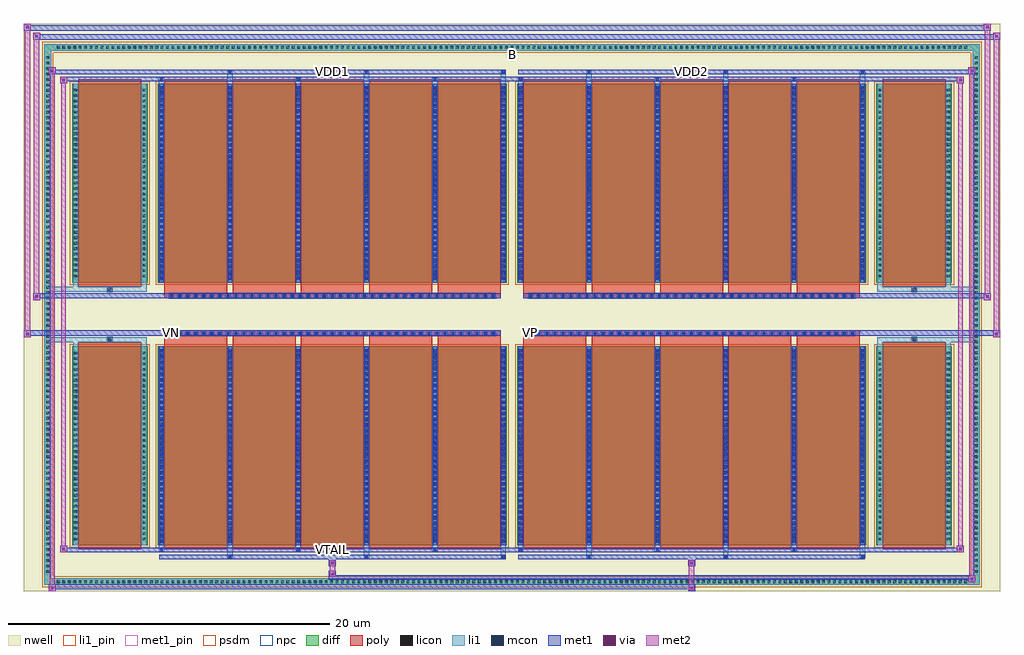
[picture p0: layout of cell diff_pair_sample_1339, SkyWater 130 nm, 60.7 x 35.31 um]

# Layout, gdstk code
import gdstk
lib = gdstk.Library(unit=1e-6, precision=5e-09)
def R(c, l, rs):  # rectangles x0, y0, x1, y1
    for r in rs: c.add(gdstk.rectangle(r[:2], r[2:], *l))
def A(c, l, x, y, w, h, nx, ny, dx, dy):  # array of equal rectangles
    R(c, l, [(x+i*dx, y+j*dy, x+i*dx+w, y+j*dy+h) for i in range(nx) for j in range(ny)])
def P(c, l, *ps):  # polygons
    for p in ps: c.add(gdstk.Polygon(p, *l))
nwell = (64, 20)
diff = (65, 20)
poly = (66, 20)
licon = (66, 44)
li1_pin = (67, 16)
li1 = (67, 20)
mcon = (67, 44)
met1_pin = (68, 16)
met1 = (68, 20)
via = (68, 44)
met2 = (69, 20)
psdm = (94, 20)
npc = (95, 20)

diff_pair_sample_1339 = lib.new_cell('diff_pair_sample_1339')
R(diff_pair_sample_1339, nwell, [(-30.35,-17.22,30.35,18.09), (-27.67,-15.41,-0.01,-0.795), (0.01,-15.41,27.67,-0.795), (-27.67,0.795,-0.01,15.41), (0.01,0.795,27.67,15.41)])
A(diff_pair_sample_1339, diff, -28.425, -16.82, 0.41, 0.41, 167, 2, 0.34, 33.23)
A(diff_pair_sample_1339, diff, -29.08, -16.185, 0.41, 0.41, 1, 95, 0, 0.34)
A(diff_pair_sample_1339, diff, 28.67, -16.185, 0.41, 0.41, 1, 95, 0, 0.34)
R(diff_pair_sample_1339, diff, [(-28.425,-16.82,28.425,-16.41), (-29.08,-16.185,-28.67,16.185), (28.67,-16.185,29.08,16.185), (-27.36,-14.365,-22.66,-1.985), (-22.02,-14.365,-0.32,-1.985), (0.32,-14.365,22.02,-1.985), (22.66,-14.365,27.36,-1.985), (-27.36,1.985,-22.66,14.365), (-22.02,1.985,-0.32,14.365), (0.32,1.985,22.02,14.365), (22.66,1.985,27.36,14.365), (-28.425,16.41,28.425,16.82)])
P(diff_pair_sample_1339, diff, [(29.08,16.82),(-29.08,16.82),(-29.08,-16.41),(-28.67,-16.41),(-28.67,16.41),(28.67,16.41),(28.67,-16.41),(-28.67,-16.41),(-29.08,-16.41),(-29.08,-16.82),(29.08,-16.82)])
A(diff_pair_sample_1339, poly, -21.63, -14.615, 3.92, 12.88, 5, 2, 4.25, 16.35)
A(diff_pair_sample_1339, poly, 0.71, -14.615, 3.92, 12.88, 5, 2, 4.25, 16.35)
A(diff_pair_sample_1339, poly, -21.63, -1.735, 3.92, 0.41, 5, 2, 4.25, 3.06)
A(diff_pair_sample_1339, poly, 0.71, -1.735, 3.92, 0.41, 5, 2, 4.25, 3.06)
A(diff_pair_sample_1339, poly, -21.335, -1.325, 0.33, 0.33, 41, 2, 0.5, 2.32)
A(diff_pair_sample_1339, poly, 1.005, -1.325, 0.33, 0.33, 41, 2, 0.5, 2.32)
R(diff_pair_sample_1339, poly, [(-26.97,-14.615,-23.05,-1.735), (23.05,-14.615,26.97,-1.735), (-25.175,-1.735,-24.845,-1.405), (-25.175,-1.735,-24.845,-1.405), (24.845,-1.735,25.175,-1.405), (24.845,-1.735,25.175,-1.405), (-21.63,-1.325,-0.71,-0.995), (0.71,-1.325,21.63,-0.995), (-21.63,0.995,-0.71,1.325), (0.71,0.995,21.63,1.325), (-25.175,1.405,-24.845,1.735), (-25.175,1.405,-24.845,1.735), (24.845,1.405,25.175,1.735), (24.845,1.405,25.175,1.735), (-26.97,1.735,-23.05,14.615), (23.05,1.735,26.97,14.615)])
A(diff_pair_sample_1339, licon, -28.305, -16.7, 0.17, 0.17, 167, 2, 0.34, 33.23)
A(diff_pair_sample_1339, licon, -28.96, -16.065, 0.17, 0.17, 1, 95, 0, 0.34)
A(diff_pair_sample_1339, licon, 28.79, -16.065, 0.17, 0.17, 1, 95, 0, 0.34)
A(diff_pair_sample_1339, licon, -27.22, -14.04, 0.17, 0.17, 1, 35, 0, 0.34)
A(diff_pair_sample_1339, licon, -22.97, -14.04, 0.17, 0.17, 1, 35, 0, 0.34)
A(diff_pair_sample_1339, licon, -21.88, -14.04, 0.17, 0.17, 6, 35, 4.25, 0.34)
A(diff_pair_sample_1339, licon, 0.46, -14.04, 0.17, 0.17, 6, 35, 4.25, 0.34)
A(diff_pair_sample_1339, licon, 22.8, -14.04, 0.17, 0.17, 1, 35, 0, 0.34)
A(diff_pair_sample_1339, licon, 27.05, -14.04, 0.17, 0.17, 1, 35, 0, 0.34)
A(diff_pair_sample_1339, licon, -21.255, -1.245, 0.17, 0.17, 41, 2, 0.5, 2.32)
A(diff_pair_sample_1339, licon, 1.085, -1.245, 0.17, 0.17, 41, 2, 0.5, 2.32)
A(diff_pair_sample_1339, licon, -27.22, 2.31, 0.17, 0.17, 1, 35, 0, 0.34)
A(diff_pair_sample_1339, licon, -22.97, 2.31, 0.17, 0.17, 1, 35, 0, 0.34)
A(diff_pair_sample_1339, licon, -21.88, 2.31, 0.17, 0.17, 6, 35, 4.25, 0.34)
A(diff_pair_sample_1339, licon, 0.46, 2.31, 0.17, 0.17, 6, 35, 4.25, 0.34)
A(diff_pair_sample_1339, licon, 22.8, 2.31, 0.17, 0.17, 1, 35, 0, 0.34)
A(diff_pair_sample_1339, licon, 27.05, 2.31, 0.17, 0.17, 1, 35, 0, 0.34)
R(diff_pair_sample_1339, licon, [(-25.095,-1.655,-24.925,-1.485), (24.925,-1.655,25.095,-1.485), (-25.095,1.485,-24.925,1.655), (24.925,1.485,25.095,1.655)])
R(diff_pair_sample_1339, li1_pin, [(-0.25,15.91,0.25,16.41)])
A(diff_pair_sample_1339, li1, -28.385, -16.78, 0.33, 0.33, 167, 2, 0.34, 33.23)
A(diff_pair_sample_1339, li1, -29.04, -16.145, 0.33, 0.33, 1, 95, 0, 0.34)
A(diff_pair_sample_1339, li1, 28.71, -16.145, 0.33, 0.33, 1, 95, 0, 0.34)
A(diff_pair_sample_1339, li1, -17.71, -15.17, 0.33, 0.805, 3, 2, 8.5, 29.535)
A(diff_pair_sample_1339, li1, -17.63, -15.17, 0.17, 0.17, 3, 2, 8.5, 30.17)
A(diff_pair_sample_1339, li1, 4.63, -15.17, 0.33, 0.805, 3, 2, 8.5, 29.535)
A(diff_pair_sample_1339, li1, 4.71, -15.17, 0.17, 0.17, 3, 2, 8.5, 30.17)
A(diff_pair_sample_1339, li1, -21.96, -14.74, 0.33, 0.375, 3, 2, 8.5, 29.105)
A(diff_pair_sample_1339, li1, -21.88, -14.74, 0.17, 0.17, 3, 2, 8.5, 29.31)
A(diff_pair_sample_1339, li1, 0.38, -14.74, 0.33, 0.375, 3, 2, 8.5, 29.105)
A(diff_pair_sample_1339, li1, 0.46, -14.74, 0.17, 0.17, 3, 2, 8.5, 29.31)
A(diff_pair_sample_1339, li1, -21.96, -14.365, 0.33, 12.38, 6, 2, 4.25, 16.35)
A(diff_pair_sample_1339, li1, 0.38, -14.365, 0.33, 12.38, 6, 2, 4.25, 16.35)
A(diff_pair_sample_1339, li1, -21.88, -14.2, 0.17, 0.17, 6, 34, 4.25, 0.36)
A(diff_pair_sample_1339, li1, -21.88, -14.2, 0.17, 12.05, 6, 2, 4.25, 16.35)
A(diff_pair_sample_1339, li1, 0.46, -14.2, 0.17, 0.17, 6, 34, 4.25, 0.36)
A(diff_pair_sample_1339, li1, 0.46, -14.2, 0.17, 12.05, 6, 2, 4.25, 16.35)
A(diff_pair_sample_1339, li1, -27.3, -14.12, 0.33, 0.33, 1, 35, 0, 0.34)
A(diff_pair_sample_1339, li1, -23.05, -14.12, 0.33, 0.33, 1, 35, 0, 0.34)
A(diff_pair_sample_1339, li1, -21.96, -14.12, 0.33, 0.33, 6, 35, 4.25, 0.34)
A(diff_pair_sample_1339, li1, 0.38, -14.12, 0.33, 0.33, 6, 35, 4.25, 0.34)
A(diff_pair_sample_1339, li1, 22.72, -14.12, 0.33, 0.33, 1, 35, 0, 0.34)
A(diff_pair_sample_1339, li1, 26.97, -14.12, 0.33, 0.33, 1, 35, 0, 0.34)
A(diff_pair_sample_1339, li1, -21.335, -1.325, 0.33, 0.33, 41, 2, 0.5, 2.32)
A(diff_pair_sample_1339, li1, 1.005, -1.325, 0.33, 0.33, 41, 2, 0.5, 2.32)
A(diff_pair_sample_1339, li1, -21.88, 2.15, 0.17, 0.17, 6, 34, 4.25, 0.36)
A(diff_pair_sample_1339, li1, 0.46, 2.15, 0.17, 0.17, 6, 34, 4.25, 0.36)
A(diff_pair_sample_1339, li1, -27.3, 2.23, 0.33, 0.33, 1, 35, 0, 0.34)
A(diff_pair_sample_1339, li1, -23.05, 2.23, 0.33, 0.33, 1, 35, 0, 0.34)
A(diff_pair_sample_1339, li1, -21.96, 2.23, 0.33, 0.33, 6, 35, 4.25, 0.34)
A(diff_pair_sample_1339, li1, 0.38, 2.23, 0.33, 0.33, 6, 35, 4.25, 0.34)
A(diff_pair_sample_1339, li1, 22.72, 2.23, 0.33, 0.33, 1, 35, 0, 0.34)
A(diff_pair_sample_1339, li1, 26.97, 2.23, 0.33, 0.33, 1, 35, 0, 0.34)
R(diff_pair_sample_1339, li1, [(-29.08,-16.82,-28.67,-16.41), (-29.08,-16.82,-28.67,-16.41), (-28.67,-16.82,28.67,-16.41), (28.67,-16.82,29.08,-16.41), (28.67,-16.82,29.08,-16.41), (-29.08,-16.41,-28.67,16.41), (28.67,-16.41,29.08,16.41), (-27.3,-14.365,-26.97,-1.985), (-23.05,-14.365,-22.72,-1.985), (22.72,-14.365,23.05,-1.985), (26.97,-14.365,27.3,-1.985), (-27.3,-1.985,-26.97,-1.405), (-23.05,-1.985,-22.72,-1.405), (22.72,-1.985,23.05,-1.405), (26.97,-1.985,27.3,-1.405), (-29.08,-1.735,-25.175,-1.405), (-27.3,-1.735,-25.175,-1.405), (-25.175,-1.735,-24.845,-1.405), (-24.845,-1.735,-22.72,-1.405), (22.72,-1.735,24.845,-1.405), (24.845,-1.735,25.175,-1.405), (24.845,-1.735,29.08,-1.405), (25.175,-1.735,27.3,-1.405), (-29.08,1.405,-25.175,1.735), (-27.3,1.405,-25.175,1.735), (-27.3,1.405,-26.97,1.985), (-25.175,1.405,-24.845,1.735), (-24.845,1.405,-22.72,1.735), (-23.05,1.405,-22.72,1.985), (22.72,1.405,24.845,1.735), (22.72,1.405,23.05,1.985), (24.845,1.405,25.175,1.735), (24.845,1.405,29.08,1.735), (25.175,1.405,27.3,1.735), (26.97,1.405,27.3,1.985), (-27.3,1.985,-26.97,14.365), (-23.05,1.985,-22.72,14.365), (22.72,1.985,23.05,14.365), (26.97,1.985,27.3,14.365), (-29.08,16.41,-28.67,16.82), (-29.08,16.41,-28.67,16.82), (-28.67,16.41,28.67,16.82), (28.67,16.41,29.08,16.82), (28.67,16.41,29.08,16.82)])
A(diff_pair_sample_1339, mcon, -17.63, -15.17, 0.17, 0.17, 3, 2, 8.5, 30.17)
A(diff_pair_sample_1339, mcon, 4.71, -15.17, 0.17, 0.17, 3, 2, 8.5, 30.17)
A(diff_pair_sample_1339, mcon, -21.88, -14.74, 0.17, 0.17, 3, 2, 8.5, 29.31)
A(diff_pair_sample_1339, mcon, 0.46, -14.74, 0.17, 0.17, 3, 2, 8.5, 29.31)
A(diff_pair_sample_1339, mcon, -21.88, -14.2, 0.17, 0.17, 6, 34, 4.25, 0.36)
A(diff_pair_sample_1339, mcon, 0.46, -14.2, 0.17, 0.17, 6, 34, 4.25, 0.36)
A(diff_pair_sample_1339, mcon, -21.255, -1.245, 0.17, 0.17, 41, 2, 0.5, 2.32)
A(diff_pair_sample_1339, mcon, 1.085, -1.245, 0.17, 0.17, 41, 2, 0.5, 2.32)
A(diff_pair_sample_1339, mcon, -21.88, 2.15, 0.17, 0.17, 6, 34, 4.25, 0.36)
A(diff_pair_sample_1339, mcon, 0.46, 2.15, 0.17, 0.17, 6, 34, 4.25, 0.36)
R(diff_pair_sample_1339, met1_pin, [(-11.305,-14.78,-11.035,-14.51), (-21.305,-1.285,-21.035,-1.015), (1.035,-1.285,1.305,-1.015), (-11.305,14.96,-11.035,15.23), (11.035,14.96,11.305,15.23)])
A(diff_pair_sample_1339, met1, -17.69, -15.23, 0.29, 0.29, 3, 2, 8.5, 30.17)
A(diff_pair_sample_1339, met1, 4.65, -15.23, 0.29, 0.29, 3, 2, 8.5, 30.17)
A(diff_pair_sample_1339, met1, -21.94, -14.8, 0.29, 0.29, 3, 2, 8.5, 29.31)
A(diff_pair_sample_1339, met1, 0.4, -14.8, 0.29, 0.29, 3, 2, 8.5, 29.31)
A(diff_pair_sample_1339, met1, -21.94, -14.365, 0.29, 12.38, 6, 2, 4.25, 16.35)
A(diff_pair_sample_1339, met1, 0.4, -14.365, 0.29, 12.38, 6, 2, 4.25, 16.35)
A(diff_pair_sample_1339, met1, -21.94, -14.26, 0.29, 0.29, 6, 34, 4.25, 0.36)
A(diff_pair_sample_1339, met1, 0.4, -14.26, 0.29, 0.29, 6, 34, 4.25, 0.36)
A(diff_pair_sample_1339, met1, -21.315, -1.305, 0.29, 0.29, 41, 2, 0.5, 2.32)
A(diff_pair_sample_1339, met1, 1.025, -1.305, 0.29, 0.29, 41, 2, 0.5, 2.32)
A(diff_pair_sample_1339, met1, -21.94, 2.09, 0.29, 0.29, 6, 34, 4.25, 0.36)
A(diff_pair_sample_1339, met1, 0.4, 2.09, 0.29, 0.29, 6, 34, 4.25, 0.36)
R(diff_pair_sample_1339, met1, [(-28.81,-17.22,-28.38,-16.79), (10.955,-17.22,11.385,-16.79), (-28.81,-17.08,11.385,-16.79), (28.38,-16.65,28.81,-16.22), (-11.385,-16.51,28.81,-16.22), (-11.385,-16.37,-10.955,-15.94), (-11.385,-15.66,-10.955,-15.23), (10.955,-15.66,11.385,-15.23), (-21.94,-15.23,-0.4,-14.94), (0.4,-15.23,21.94,-14.94), (-28.1,-14.8,-27.67,-14.37), (-28.1,-14.8,-21.94,-14.51), (-21.94,-14.8,-0.4,-14.51), (-0.4,-14.8,0.4,-14.51), (0.4,-14.8,21.94,-14.51), (21.94,-14.8,28.1,-14.51), (27.67,-14.8,28.1,-14.37), (-30.35,-1.425,-29.92,-0.995), (29.92,-1.425,30.35,-0.995), (-30.35,-1.325,-0.71,-0.995), (-21.63,-1.325,-0.71,-0.995), (0.71,-1.325,21.63,-0.995), (0.71,-1.325,30.35,-0.995), (-29.78,0.895,-29.35,1.325), (29.35,0.895,29.78,1.325), (-29.78,0.995,-21.63,1.325), (-21.63,0.995,-0.71,1.325), (0.71,0.995,21.63,1.325), (21.63,0.995,29.78,1.325), (-28.1,14.37,-27.67,14.8), (27.67,14.37,28.1,14.8), (-28.1,14.51,-21.94,14.8), (-21.94,14.51,-0.4,14.8), (-0.4,14.51,0.4,14.8), (0.4,14.51,21.94,14.8), (21.94,14.51,28.1,14.8), (-28.81,14.94,-28.38,15.37), (-28.81,14.94,-21.94,15.23), (-21.94,14.94,-0.4,15.23), (0.4,14.94,21.94,15.23), (21.94,14.94,28.81,15.23), (28.38,14.94,28.81,15.37), (-29.78,17.09,-29.35,17.52), (-29.78,17.09,-27.67,17.42), (-27.67,17.09,27.67,17.42), (27.67,17.09,30.35,17.42), (29.92,17.09,30.35,17.52), (-30.35,17.66,-29.92,18.09), (-30.35,17.66,-27.67,17.99), (-27.67,17.66,27.67,17.99), (27.67,17.66,29.78,17.99), (29.35,17.66,29.78,18.09)])
R(diff_pair_sample_1339, via, [(-28.67,-17.08,-28.52,-16.93), (11.095,-17.08,11.245,-16.93), (28.52,-16.51,28.67,-16.36), (-11.245,-16.23,-11.095,-16.08), (-11.245,-15.52,-11.095,-15.37), (11.095,-15.52,11.245,-15.37), (-27.96,-14.66,-27.81,-14.51), (27.81,-14.66,27.96,-14.51), (-30.21,-1.285,-30.06,-1.135), (30.06,-1.285,30.21,-1.135), (-29.64,1.035,-29.49,1.185), (29.49,1.035,29.64,1.185), (-27.96,14.51,-27.81,14.66), (27.81,14.51,27.96,14.66), (-28.67,15.08,-28.52,15.23), (28.52,15.08,28.67,15.23), (-29.64,17.23,-29.49,17.38), (30.06,17.23,30.21,17.38), (-30.21,17.8,-30.06,17.95), (29.49,17.8,29.64,17.95)])
R(diff_pair_sample_1339, met2, [(-28.81,-17.22,-28.38,-16.79), (-28.74,-17.22,-28.45,15.37), (-28.45,-17.22,-28.38,-16.79), (-28.76,-17.17,-28.43,-16.84), (11.005,-17.17,11.335,-16.84), (11.005,-16.84,11.335,-15.61), (28.38,-16.65,28.81,-16.22), (28.45,-16.65,28.74,15.37), (28.74,-16.65,28.81,-16.22), (28.43,-16.6,28.76,-16.27), (-11.335,-16.32,-11.005,-15.99), (-11.335,-15.99,-11.005,-15.61), (-11.335,-15.61,-11.005,-15.28), (11.005,-15.61,11.335,-15.28), (-28.1,-14.8,-27.67,-14.37), (-28.03,-14.8,-27.74,14.8), (-27.74,-14.8,-27.67,-14.37), (27.67,-14.8,28.1,-14.37), (27.74,-14.8,28.03,14.8), (28.03,-14.8,28.1,-14.37), (-28.05,-14.75,-27.72,-14.42), (27.72,-14.75,28.05,-14.42), (-30.35,-1.425,-29.92,-0.995), (-30.3,-1.425,-29.97,18.09), (-29.97,-1.425,-29.92,-0.995), (29.92,-1.425,30.35,-0.995), (29.97,-1.425,30.3,17.52), (30.3,-1.425,30.35,-0.995), (-30.3,-1.375,-29.97,-1.045), (29.97,-1.375,30.3,-1.045), (-29.78,0.895,-29.35,1.325), (-29.73,0.895,-29.4,17.52), (-29.4,0.895,-29.35,1.325), (29.35,0.895,29.78,1.325), (29.4,0.895,29.73,18.09), (29.73,0.895,29.78,1.325), (-29.73,0.945,-29.4,1.275), (29.4,0.945,29.73,1.275), (-28.1,14.37,-27.67,14.8), (-27.74,14.37,-27.67,14.8), (27.67,14.37,28.1,14.8), (28.03,14.37,28.1,14.8), (-28.05,14.42,-27.72,14.75), (27.72,14.42,28.05,14.75), (-28.81,14.94,-28.38,15.37), (-28.45,14.94,-28.38,15.37), (28.38,14.94,28.81,15.37), (28.74,14.94,28.81,15.37), (-28.76,14.99,-28.43,15.32), (28.43,14.99,28.76,15.32), (-29.78,17.09,-29.35,17.52), (-29.4,17.09,-29.35,17.52), (29.92,17.09,30.35,17.52), (30.3,17.09,30.35,17.52), (-29.73,17.14,-29.4,17.47), (29.97,17.14,30.3,17.47), (-30.35,17.66,-29.92,18.09), (-29.97,17.66,-29.92,18.09), (29.35,17.66,29.78,18.09), (29.73,17.66,29.78,18.09), (-30.3,17.71,-29.97,18.04), (29.4,17.71,29.73,18.04)])
R(diff_pair_sample_1339, psdm, [(-27.49,-14.495,-22.53,-1.855), (-22.15,-14.495,-0.19,-1.855), (0.19,-14.495,22.15,-1.855), (22.53,-14.495,27.49,-1.855), (-27.49,1.855,-22.53,14.495), (-22.15,1.855,-0.19,14.495), (0.19,1.855,22.15,14.495), (22.53,1.855,27.49,14.495)])
P(diff_pair_sample_1339, psdm, [(29.21,16.95),(-29.21,16.95),(-29.21,-16.28),(-28.54,-16.28),(-28.54,16.28),(28.54,16.28),(28.54,-16.28),(-28.54,-16.28),(-29.21,-16.28),(-29.21,-16.95),(29.21,-16.95)])
A(diff_pair_sample_1339, npc, -21.355, -1.345, 0.37, 0.37, 41, 2, 0.5, 2.32)
A(diff_pair_sample_1339, npc, 0.985, -1.345, 0.37, 0.37, 41, 2, 0.5, 2.32)
R(diff_pair_sample_1339, npc, [(-25.195,-1.755,-24.825,-1.385), (24.825,-1.755,25.195,-1.385), (-21.355,-1.345,-20.485,-0.975), (-21.355,-1.345,-20.485,-0.975), (-20.855,-1.345,-19.985,-0.975), (-20.855,-1.345,-19.985,-0.975), (-20.355,-1.345,-19.485,-0.975), (-20.355,-1.345,-19.485,-0.975), (-19.855,-1.345,-18.985,-0.975), (-19.855,-1.345,-18.985,-0.975), (-19.355,-1.345,-18.485,-0.975), (-19.355,-1.345,-18.485,-0.975), (-18.855,-1.345,-17.985,-0.975), (-18.855,-1.345,-17.985,-0.975), (-18.355,-1.345,-17.485,-0.975), (-18.355,-1.345,-17.485,-0.975), (-17.855,-1.345,-16.985,-0.975), (-17.855,-1.345,-16.985,-0.975), (-17.355,-1.345,-16.485,-0.975), (-17.355,-1.345,-16.485,-0.975), (-16.855,-1.345,-15.985,-0.975), (-16.855,-1.345,-15.985,-0.975), (-16.355,-1.345,-15.485,-0.975), (-16.355,-1.345,-15.485,-0.975), (-15.855,-1.345,-14.985,-0.975), (-15.855,-1.345,-14.985,-0.975), (-15.355,-1.345,-14.485,-0.975), (-15.355,-1.345,-14.485,-0.975), (-14.855,-1.345,-13.985,-0.975), (-14.855,-1.345,-13.985,-0.975), (-14.355,-1.345,-13.485,-0.975), (-14.355,-1.345,-13.485,-0.975), (-13.855,-1.345,-12.985,-0.975), (-13.855,-1.345,-12.985,-0.975), (-13.355,-1.345,-12.485,-0.975), (-13.355,-1.345,-12.485,-0.975), (-12.855,-1.345,-11.985,-0.975), (-12.855,-1.345,-11.985,-0.975), (-12.355,-1.345,-11.485,-0.975), (-12.355,-1.345,-11.485,-0.975), (-11.855,-1.345,-10.985,-0.975), (-11.855,-1.345,-10.985,-0.975), (-11.355,-1.345,-10.485,-0.975), (-11.355,-1.345,-10.485,-0.975), (-10.855,-1.345,-9.985,-0.975), (-10.855,-1.345,-9.985,-0.975), (-10.355,-1.345,-9.485,-0.975), (-10.355,-1.345,-9.485,-0.975), (-9.855,-1.345,-8.985,-0.975), (-9.855,-1.345,-8.985,-0.975), (-9.355,-1.345,-8.485,-0.975), (-9.355,-1.345,-8.485,-0.975), (-8.855,-1.345,-7.985,-0.975), (-8.855,-1.345,-7.985,-0.975), (-8.355,-1.345,-7.485,-0.975), (-8.355,-1.345,-7.485,-0.975), (-7.855,-1.345,-6.985,-0.975), (-7.855,-1.345,-6.985,-0.975), (-7.355,-1.345,-6.485,-0.975), (-7.355,-1.345,-6.485,-0.975), (-6.855,-1.345,-5.985,-0.975), (-6.855,-1.345,-5.985,-0.975), (-6.355,-1.345,-5.485,-0.975), (-6.355,-1.345,-5.485,-0.975), (-5.855,-1.345,-4.985,-0.975), (-5.855,-1.345,-4.985,-0.975), (-5.355,-1.345,-4.485,-0.975), (-5.355,-1.345,-4.485,-0.975), (-4.855,-1.345,-3.985,-0.975), (-4.855,-1.345,-3.985,-0.975), (-4.355,-1.345,-3.485,-0.975), (-4.355,-1.345,-3.485,-0.975), (-3.855,-1.345,-2.985,-0.975), (-3.855,-1.345,-2.985,-0.975), (-3.355,-1.345,-2.485,-0.975), (-3.355,-1.345,-2.485,-0.975), (-2.855,-1.345,-1.985,-0.975), (-2.855,-1.345,-1.985,-0.975), (-2.355,-1.345,-1.485,-0.975), (-2.355,-1.345,-1.485,-0.975), (-1.855,-1.345,-0.985,-0.975), (-1.855,-1.345,-0.985,-0.975), (0.985,-1.345,1.855,-0.975), (0.985,-1.345,1.855,-0.975), (1.485,-1.345,2.355,-0.975), (1.485,-1.345,2.355,-0.975), (1.985,-1.345,2.855,-0.975), (1.985,-1.345,2.855,-0.975), (2.485,-1.345,3.355,-0.975), (2.485,-1.345,3.355,-0.975), (2.985,-1.345,3.855,-0.975), (2.985,-1.345,3.855,-0.975), (3.485,-1.345,4.355,-0.975), (3.485,-1.345,4.355,-0.975), (3.985,-1.345,4.855,-0.975), (3.985,-1.345,4.855,-0.975), (4.485,-1.345,5.355,-0.975), (4.485,-1.345,5.355,-0.975), (4.985,-1.345,5.855,-0.975), (4.985,-1.345,5.855,-0.975), (5.485,-1.345,6.355,-0.975), (5.485,-1.345,6.355,-0.975), (5.985,-1.345,6.855,-0.975), (5.985,-1.345,6.855,-0.975), (6.485,-1.345,7.355,-0.975), (6.485,-1.345,7.355,-0.975), (6.985,-1.345,7.855,-0.975), (6.985,-1.345,7.855,-0.975), (7.485,-1.345,8.355,-0.975), (7.485,-1.345,8.355,-0.975), (7.985,-1.345,8.855,-0.975), (7.985,-1.345,8.855,-0.975), (8.485,-1.345,9.355,-0.975), (8.485,-1.345,9.355,-0.975), (8.985,-1.345,9.855,-0.975), (8.985,-1.345,9.855,-0.975), (9.485,-1.345,10.355,-0.975), (9.485,-1.345,10.355,-0.975), (9.985,-1.345,10.855,-0.975), (9.985,-1.345,10.855,-0.975), (10.485,-1.345,11.355,-0.975), (10.485,-1.345,11.355,-0.975), (10.985,-1.345,11.855,-0.975), (10.985,-1.345,11.855,-0.975), (11.485,-1.345,12.355,-0.975), (11.485,-1.345,12.355,-0.975), (11.985,-1.345,12.855,-0.975), (11.985,-1.345,12.855,-0.975), (12.485,-1.345,13.355,-0.975), (12.485,-1.345,13.355,-0.975), (12.985,-1.345,13.855,-0.975), (12.985,-1.345,13.855,-0.975), (13.485,-1.345,14.355,-0.975), (13.485,-1.345,14.355,-0.975), (13.985,-1.345,14.855,-0.975), (13.985,-1.345,14.855,-0.975), (14.485,-1.345,15.355,-0.975), (14.485,-1.345,15.355,-0.975), (14.985,-1.345,15.855,-0.975), (14.985,-1.345,15.855,-0.975), (15.485,-1.345,16.355,-0.975), (15.485,-1.345,16.355,-0.975), (15.985,-1.345,16.855,-0.975), (15.985,-1.345,16.855,-0.975), (16.485,-1.345,17.355,-0.975), (16.485,-1.345,17.355,-0.975), (16.985,-1.345,17.855,-0.975), (16.985,-1.345,17.855,-0.975), (17.485,-1.345,18.355,-0.975), (17.485,-1.345,18.355,-0.975), (17.985,-1.345,18.855,-0.975), (17.985,-1.345,18.855,-0.975), (18.485,-1.345,19.355,-0.975), (18.485,-1.345,19.355,-0.975), (18.985,-1.345,19.855,-0.975), (18.985,-1.345,19.855,-0.975), (19.485,-1.345,20.355,-0.975), (19.485,-1.345,20.355,-0.975), (19.985,-1.345,20.855,-0.975), (19.985,-1.345,20.855,-0.975), (20.485,-1.345,21.355,-0.975), (20.485,-1.345,21.355,-0.975), (-21.355,0.975,-20.485,1.345), (-21.355,0.975,-20.485,1.345), (-20.855,0.975,-19.985,1.345), (-20.855,0.975,-19.985,1.345), (-20.355,0.975,-19.485,1.345), (-20.355,0.975,-19.485,1.345), (-19.855,0.975,-18.985,1.345), (-19.855,0.975,-18.985,1.345), (-19.355,0.975,-18.485,1.345), (-19.355,0.975,-18.485,1.345), (-18.855,0.975,-17.985,1.345), (-18.855,0.975,-17.985,1.345), (-18.355,0.975,-17.485,1.345), (-18.355,0.975,-17.485,1.345), (-17.855,0.975,-16.985,1.345), (-17.855,0.975,-16.985,1.345), (-17.355,0.975,-16.485,1.345), (-17.355,0.975,-16.485,1.345), (-16.855,0.975,-15.985,1.345), (-16.855,0.975,-15.985,1.345), (-16.355,0.975,-15.485,1.345), (-16.355,0.975,-15.485,1.345), (-15.855,0.975,-14.985,1.345), (-15.855,0.975,-14.985,1.345), (-15.355,0.975,-14.485,1.345), (-15.355,0.975,-14.485,1.345), (-14.855,0.975,-13.985,1.345), (-14.855,0.975,-13.985,1.345), (-14.355,0.975,-13.485,1.345), (-14.355,0.975,-13.485,1.345), (-13.855,0.975,-12.985,1.345), (-13.855,0.975,-12.985,1.345), (-13.355,0.975,-12.485,1.345), (-13.355,0.975,-12.485,1.345), (-12.855,0.975,-11.985,1.345), (-12.855,0.975,-11.985,1.345), (-12.355,0.975,-11.485,1.345), (-12.355,0.975,-11.485,1.345), (-11.855,0.975,-10.985,1.345), (-11.855,0.975,-10.985,1.345), (-11.355,0.975,-10.485,1.345), (-11.355,0.975,-10.485,1.345), (-10.855,0.975,-9.985,1.345), (-10.855,0.975,-9.985,1.345), (-10.355,0.975,-9.485,1.345), (-10.355,0.975,-9.485,1.345), (-9.855,0.975,-8.985,1.345), (-9.855,0.975,-8.985,1.345), (-9.355,0.975,-8.485,1.345), (-9.355,0.975,-8.485,1.345), (-8.855,0.975,-7.985,1.345), (-8.855,0.975,-7.985,1.345), (-8.355,0.975,-7.485,1.345), (-8.355,0.975,-7.485,1.345), (-7.855,0.975,-6.985,1.345), (-7.855,0.975,-6.985,1.345), (-7.355,0.975,-6.485,1.345), (-7.355,0.975,-6.485,1.345), (-6.855,0.975,-5.985,1.345), (-6.855,0.975,-5.985,1.345), (-6.355,0.975,-5.485,1.345), (-6.355,0.975,-5.485,1.345), (-5.855,0.975,-4.985,1.345), (-5.855,0.975,-4.985,1.345), (-5.355,0.975,-4.485,1.345), (-5.355,0.975,-4.485,1.345), (-4.855,0.975,-3.985,1.345), (-4.855,0.975,-3.985,1.345), (-4.355,0.975,-3.485,1.345), (-4.355,0.975,-3.485,1.345), (-3.855,0.975,-2.985,1.345), (-3.855,0.975,-2.985,1.345), (-3.355,0.975,-2.485,1.345), (-3.355,0.975,-2.485,1.345), (-2.855,0.975,-1.985,1.345), (-2.855,0.975,-1.985,1.345), (-2.355,0.975,-1.485,1.345), (-2.355,0.975,-1.485,1.345), (-1.855,0.975,-0.985,1.345), (-1.855,0.975,-0.985,1.345), (0.985,0.975,1.855,1.345), (0.985,0.975,1.855,1.345), (1.485,0.975,2.355,1.345), (1.485,0.975,2.355,1.345), (1.985,0.975,2.855,1.345), (1.985,0.975,2.855,1.345), (2.485,0.975,3.355,1.345), (2.485,0.975,3.355,1.345), (2.985,0.975,3.855,1.345), (2.985,0.975,3.855,1.345), (3.485,0.975,4.355,1.345), (3.485,0.975,4.355,1.345), (3.985,0.975,4.855,1.345), (3.985,0.975,4.855,1.345), (4.485,0.975,5.355,1.345), (4.485,0.975,5.355,1.345), (4.985,0.975,5.855,1.345), (4.985,0.975,5.855,1.345), (5.485,0.975,6.355,1.345), (5.485,0.975,6.355,1.345), (5.985,0.975,6.855,1.345), (5.985,0.975,6.855,1.345), (6.485,0.975,7.355,1.345), (6.485,0.975,7.355,1.345), (6.985,0.975,7.855,1.345), (6.985,0.975,7.855,1.345), (7.485,0.975,8.355,1.345), (7.485,0.975,8.355,1.345), (7.985,0.975,8.855,1.345), (7.985,0.975,8.855,1.345), (8.485,0.975,9.355,1.345), (8.485,0.975,9.355,1.345), (8.985,0.975,9.855,1.345), (8.985,0.975,9.855,1.345), (9.485,0.975,10.355,1.345), (9.485,0.975,10.355,1.345), (9.985,0.975,10.855,1.345), (9.985,0.975,10.855,1.345), (10.485,0.975,11.355,1.345), (10.485,0.975,11.355,1.345), (10.985,0.975,11.855,1.345), (10.985,0.975,11.855,1.345), (11.485,0.975,12.355,1.345), (11.485,0.975,12.355,1.345), (11.985,0.975,12.855,1.345), (11.985,0.975,12.855,1.345), (12.485,0.975,13.355,1.345), (12.485,0.975,13.355,1.345), (12.985,0.975,13.855,1.345), (12.985,0.975,13.855,1.345), (13.485,0.975,14.355,1.345), (13.485,0.975,14.355,1.345), (13.985,0.975,14.855,1.345), (13.985,0.975,14.855,1.345), (14.485,0.975,15.355,1.345), (14.485,0.975,15.355,1.345), (14.985,0.975,15.855,1.345), (14.985,0.975,15.855,1.345), (15.485,0.975,16.355,1.345), (15.485,0.975,16.355,1.345), (15.985,0.975,16.855,1.345), (15.985,0.975,16.855,1.345), (16.485,0.975,17.355,1.345), (16.485,0.975,17.355,1.345), (16.985,0.975,17.855,1.345), (16.985,0.975,17.855,1.345), (17.485,0.975,18.355,1.345), (17.485,0.975,18.355,1.345), (17.985,0.975,18.855,1.345), (17.985,0.975,18.855,1.345), (18.485,0.975,19.355,1.345), (18.485,0.975,19.355,1.345), (18.985,0.975,19.855,1.345), (18.985,0.975,19.855,1.345), (19.485,0.975,20.355,1.345), (19.485,0.975,20.355,1.345), (19.985,0.975,20.855,1.345), (19.985,0.975,20.855,1.345), (20.485,0.975,21.355,1.345), (20.485,0.975,21.355,1.345), (-25.195,1.385,-24.825,1.755), (24.825,1.385,25.195,1.755)])
diff_pair_sample_1339.add(gdstk.Label('VTAIL', (-11.17,-14.645), layer=68, texttype=5))
diff_pair_sample_1339.add(gdstk.Label('VN', (-21.17,-1.15), layer=68, texttype=5))
diff_pair_sample_1339.add(gdstk.Label('VP', (1.17,-1.15), layer=68, texttype=5))
diff_pair_sample_1339.add(gdstk.Label('B', (0,16.16), layer=67, texttype=5))
diff_pair_sample_1339.add(gdstk.Label('VDD2', (11.17,15.095), layer=68, texttype=5))
diff_pair_sample_1339.add(gdstk.Label('VDD1', (-11.17,15.095), layer=68, texttype=5))

lib.write_gds('diff_pair_sample_1339.gds')
